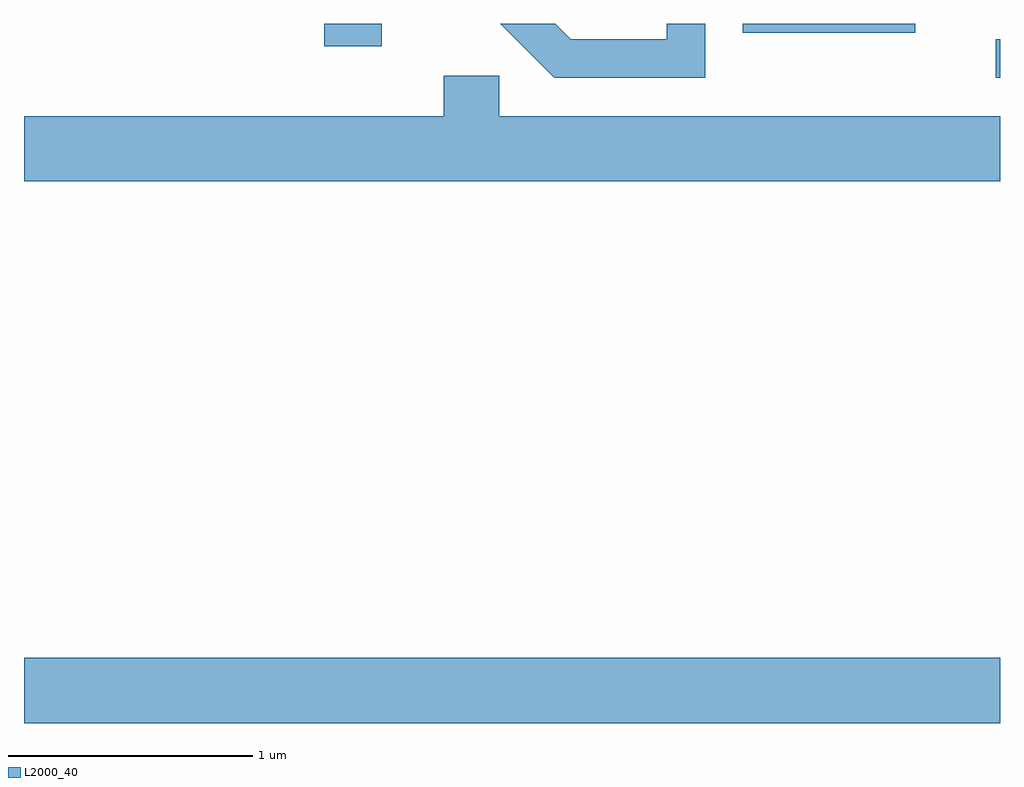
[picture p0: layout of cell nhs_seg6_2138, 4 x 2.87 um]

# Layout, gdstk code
import gdstk
lib = gdstk.Library(unit=1e-6, precision=1e-09)
def R(c, l, rs):  # rectangles x0, y0, x1, y1
    for r in rs: c.add(gdstk.rectangle(r[:2], r[2:], *l))
def P(c, l, *ps):  # polygons
    for p in ps: c.add(gdstk.Polygon(p, *l))
L2000_40 = (2000, 40)

nhs_seg6_2138 = lib.new_cell('nhs_seg6_2138')
R(nhs_seg6_2138, L2000_40, [(249.611,1623.296,253.611,1623.564), (253.593,1625.941,253.611,1626.099), (250.841,1626.071,251.078,1626.162), (252.556,1626.126,253.264,1626.162)])
P(nhs_seg6_2138, L2000_40, [(252.404,1626.162),(252.246,1626.162),(252.246,1626.099),(251.852,1626.099),(251.789,1626.162),(251.563,1626.162),(251.784,1625.941),(252.404,1625.941)],
  [(253.611,1625.784),(251.559,1625.784),(251.559,1625.949),(251.331,1625.949),(251.331,1625.784),(249.611,1625.784),(249.611,1625.516),(253.611,1625.516)])

lib.write_gds('nhs_seg6_2138.gds')
